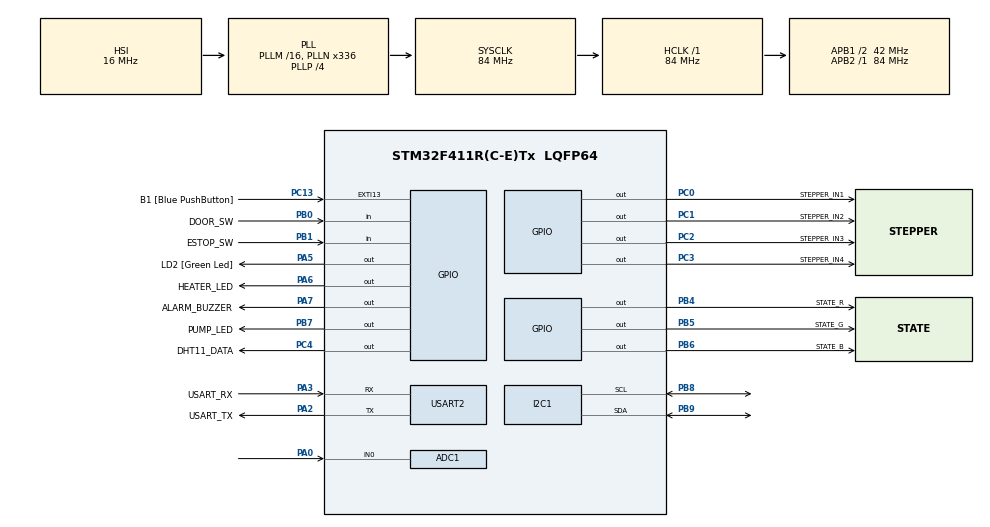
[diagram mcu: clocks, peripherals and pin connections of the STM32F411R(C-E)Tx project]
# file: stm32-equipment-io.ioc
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ADC1.Channel-0\#ChannelRegularConversion=ADC_CHANNEL_0
ADC1.NbrOfConversionFlag=1
ADC1.Rank-0\#ChannelRegularConversion=1
ADC1.SamplingTime-0\#ChannelRegularConversion=ADC_SAMPLETIME_3CYCLES
ADC1.master=1
Mcu.Family=STM32F4
Mcu.Name=STM32F411R(C-E)Tx
Mcu.Package=LQFP64
NVIC.PriorityGroup=NVIC_PRIORITYGROUP_0
PA0-WKUP.Signal=ADCx_IN0
PA13.GPIO_Label=TMS
PA13.Mode=Serial_Wire
PA13.Signal=SYS_JTMS-SWDIO
PA14.GPIO_Label=TCK
PA14.Mode=Serial_Wire
PA14.Signal=SYS_JTCK-SWCLK
PA2.GPIO_Label=USART_TX
PA2.Mode=Asynchronous
PA2.Signal=USART2_TX
PA3.GPIO_Label=USART_RX
PA3.Mode=Asynchronous
PA3.Signal=USART2_RX
PA5.GPIO_Label=LD2 [Green Led]
PA5.Signal=GPIO_Output
PA6.GPIO_Label=HEATER_LED
PA6.Signal=GPIO_Output
PA7.GPIO_Label=ALARM_BUZZER
PA7.Signal=GPIO_Output
PB0.GPIO_Label=DOOR_SW
PB0.GPIO_PuPd=GPIO_PULLUP
PB0.Signal=GPIO_Input
PB1.GPIO_Label=ESTOP_SW
PB1.GPIO_PuPd=GPIO_PULLUP
PB1.Signal=GPIO_Input
PB3.GPIO_Label=SWO
PB3.Signal=SYS_JTDO-SWO
PB4.GPIO_Label=STATE_R
PB4.GPIO_PuPd=GPIO_NOPULL
PB4.Signal=GPIO_Output
PB5.GPIO_Label=STATE_G
PB5.Signal=GPIO_Output
PB6.GPIO_Label=STATE_B
PB6.Signal=GPIO_Output
PB7.GPIO_Label=PUMP_LED
PB7.Signal=GPIO_Output
PB8.Mode=I2C
PB8.Signal=I2C1_SCL
PB9.Mode=I2C
PB9.Signal=I2C1_SDA
PC0.GPIO_Label=STEPPER_IN1
PC0.Signal=GPIO_Output
PC1.GPIO_Label=STEPPER_IN2
PC1.Signal=GPIO_Output
PC13-ANTI_TAMP.GPIO_Label=B1 [Blue PushButton]
PC13-ANTI_TAMP.GPIO_ModeDefaultEXTI=GPIO_MODE_IT_FALLING
PC13-ANTI_TAMP.Signal=GPXTI13
PC14-OSC32_IN.Mode=LSE-External-Oscillator
PC14-OSC32_IN.Signal=RCC_OSC32_IN
PC15-OSC32_OUT.Mode=LSE-External-Oscillator
PC15-OSC32_OUT.Signal=RCC_OSC32_OUT
PC2.GPIO_Label=STEPPER_IN3
PC2.Signal=GPIO_Output
PC3.GPIO_Label=STEPPER_IN4
PC3.Signal=GPIO_Output
PC4.GPIO_Label=DHT11_DATA
PC4.PinState=GPIO_PIN_SET
PC4.Signal=GPIO_Output
PH0\ -\ OSC_IN.Mode=HSE-External-Clock-Source
PH0\ -\ OSC_IN.Signal=RCC_OSC_IN
PH1\ -\ OSC_OUT.Mode=HSE-External-Clock-Source
PH1\ -\ OSC_OUT.Signal=RCC_OSC_OUT
ProjectManager.HeapSize=0x200
ProjectManager.StackSize=0x400
ProjectManager.TargetToolchain=CMake
RCC.48MHZClocksFreq_Value=84000000
RCC.AHBFreq_Value=84000000
RCC.APB1CLKDivider=RCC_HCLK_DIV2
RCC.APB1Freq_Value=42000000
RCC.APB1TimFreq_Value=84000000
RCC.APB2Freq_Value=84000000
RCC.APB2TimFreq_Value=84000000
RCC.CortexFreq_Value=84000000
RCC.FLatency-AdvancedSettings=FLASH_LATENCY_2
RCC.HCLKFreq_Value=84000000
RCC.HSE_VALUE=8000000
RCC.HSI_VALUE=16000000
RCC.PLLN=336
RCC.PLLP=RCC_PLLP_DIV4
RCC.SYSCLKFreq_VALUE=84000000
RCC.SYSCLKSource=RCC_SYSCLKSOURCE_PLLCLK
RCC.VCOOutputFreq_Value=336000000
SH.ADCx_IN0.0=ADC1_IN0,IN0
TIM5.Prescaler=83
USART2.VirtualMode=VM_ASYNC
VP_TIM5_VS_ClockSourceINT.Mode=Internal
board=NUCLEO-F411RE

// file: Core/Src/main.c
/* USER CODE BEGIN Header */
/**
  ******************************************************************************
  * @file           : main.c
  * @brief          : Main program body
  ******************************************************************************
  * @attention
  *
  * Copyright (c) 2026 STMicroelectronics.
  * All rights reserved.
  *
  * This software is licensed under terms that can be found in the LICENSE file
  * in the root directory of this software component.
  * If no LICENSE file comes with this software, it is provided AS-IS.
  *
  ******************************************************************************
  */
/* USER CODE END Header */
#include "main.h"

/* USER CODE BEGIN Includes */
#ifdef DHT11_HARDWARE_TEST
#include "dht11_hardware_test.h"
#else
#include "io_runtime.h"
#ifndef STEPPER_HARDWARE_TEST
#include "io_environment.h"
#endif
#endif

/* USER CODE END Includes */

ADC_HandleTypeDef hadc1;

I2C_HandleTypeDef hi2c1;

TIM_HandleTypeDef htim5;

UART_HandleTypeDef huart2;

void SystemClock_Config(void);
static void MX_GPIO_Init(void);
static void MX_USART2_UART_Init(void);
static void MX_ADC1_Init(void);
static void MX_I2C1_Init(void);
static void MX_TIM5_Init(void);

int main(void)
{

  /* MCU Configuration--------------------------------------------------------*/

  /* Reset of all peripherals, Initializes the Flash interface and the Systick. */
  HAL_Init();

  /* Configure the system clock */
  SystemClock_Config();

  /* Initialize all configured peripherals */
  MX_GPIO_Init();
  MX_USART2_UART_Init();
  MX_ADC1_Init();
  MX_I2C1_Init();
  MX_TIM5_Init();
  /* USER CODE BEGIN 2 */
#ifdef DHT11_HARDWARE_TEST
  Dht11HardwareTest_Init(&htim5, &huart2);
#else
  IoRuntime_Init(&hadc1, &huart2);
#ifndef STEPPER_HARDWARE_TEST
  IoEnvironment_Init(&htim5);
#endif
#endif

  /* USER CODE END 2 */

  /* Infinite loop */
  while (1)
  {

    /* USER CODE BEGIN 3 */
#ifdef DHT11_HARDWARE_TEST
    Dht11HardwareTest_Poll();
#else
    IoRuntime_Poll();
#endif
  }
  /* USER CODE END 3 */
}

void SystemClock_Config(void)
{
  RCC_OscInitTypeDef RCC_OscInitStruct = {0};
  RCC_ClkInitTypeDef RCC_ClkInitStruct = {0};

  /** Configure the main internal regulator output voltage
  */
  __HAL_RCC_PWR_CLK_ENABLE();
  __HAL_PWR_VOLTAGESCALING_CONFIG(PWR_REGULATOR_VOLTAGE_SCALE1);

  /** Initializes the RCC Oscillators according to the specified parameters
  * in the RCC_OscInitTypeDef structure.
  */
  RCC_OscInitStruct.OscillatorType = RCC_OSCILLATORTYPE_HSI;
  RCC_OscInitStruct.HSIState = RCC_HSI_ON;
  RCC_OscInitStruct.HSICalibrationValue = RCC_HSICALIBRATION_DEFAULT;
  RCC_OscInitStruct.PLL.PLLState = RCC_PLL_ON;
  RCC_OscInitStruct.PLL.PLLSource = RCC_PLLSOURCE_HSI;
  RCC_OscInitStruct.PLL.PLLM = 16;
  RCC_OscInitStruct.PLL.PLLN = 336;
  RCC_OscInitStruct.PLL.PLLP = RCC_PLLP_DIV4;
  RCC_OscInitStruct.PLL.PLLQ = 4;
  if (HAL_RCC_OscConfig(&RCC_OscInitStruct) != HAL_OK)
  {
    Error_Handler();
  }

  /** Initializes the CPU, AHB and APB buses clocks
  */
  RCC_ClkInitStruct.ClockType = RCC_CLOCKTYPE_HCLK|RCC_CLOCKTYPE_SYSCLK
                              |RCC_CLOCKTYPE_PCLK1|RCC_CLOCKTYPE_PCLK2;
  RCC_ClkInitStruct.SYSCLKSource = RCC_SYSCLKSOURCE_PLLCLK;
  RCC_ClkInitStruct.AHBCLKDivider = RCC_SYSCLK_DIV1;
  RCC_ClkInitStruct.APB1CLKDivider = RCC_HCLK_DIV2;
  RCC_ClkInitStruct.APB2CLKDivider = RCC_HCLK_DIV1;

  if (HAL_RCC_ClockConfig(&RCC_ClkInitStruct, FLASH_LATENCY_2) != HAL_OK)
  {
    Error_Handler();
  }
}

static void MX_ADC1_Init(void)
{

  ADC_ChannelConfTypeDef sConfig = {0};

  /** Configure the global features of the ADC (Clock, Resolution, Data Alignment and number of conversion)
  */
  hadc1.Instance = ADC1;
  hadc1.Init.ClockPrescaler = ADC_CLOCK_SYNC_PCLK_DIV4;
  hadc1.Init.Resolution = ADC_RESOLUTION_12B;
  hadc1.Init.ScanConvMode = DISABLE;
  hadc1.Init.ContinuousConvMode = DISABLE;
  hadc1.Init.DiscontinuousConvMode = DISABLE;
  hadc1.Init.ExternalTrigConvEdge = ADC_EXTERNALTRIGCONVEDGE_NONE;
  hadc1.Init.ExternalTrigConv = ADC_SOFTWARE_START;
  hadc1.Init.DataAlign = ADC_DATAALIGN_RIGHT;
  hadc1.Init.NbrOfConversion = 1;
  hadc1.Init.DMAContinuousRequests = DISABLE;
  hadc1.Init.EOCSelection = ADC_EOC_SINGLE_CONV;
  if (HAL_ADC_Init(&hadc1) != HAL_OK)
  {
    Error_Handler();
  }

  /** Configure for the selected ADC regular channel its corresponding rank in the sequencer and its sample time.
  */
  sConfig.Channel = ADC_CHANNEL_0;
  sConfig.Rank = 1;
  sConfig.SamplingTime = ADC_SAMPLETIME_3CYCLES;
  if (HAL_ADC_ConfigChannel(&hadc1, &sConfig) != HAL_OK)
  {
    Error_Handler();
  }

}

static void MX_I2C1_Init(void)
{

  hi2c1.Instance = I2C1;
  hi2c1.Init.ClockSpeed = 100000;
  hi2c1.Init.DutyCycle = I2C_DUTYCYCLE_2;
  hi2c1.Init.OwnAddress1 = 0;
  hi2c1.Init.AddressingMode = I2C_ADDRESSINGMODE_7BIT;
  hi2c1.Init.DualAddressMode = I2C_DUALADDRESS_DISABLE;
  hi2c1.Init.OwnAddress2 = 0;
  hi2c1.Init.GeneralCallMode = I2C_GENERALCALL_DISABLE;
  hi2c1.Init.NoStretchMode = I2C_NOSTRETCH_DISABLE;
  if (HAL_I2C_Init(&hi2c1) != HAL_OK)
  {
    Error_Handler();
  }

}

static void MX_TIM5_Init(void)
{

  TIM_ClockConfigTypeDef sClockSourceConfig = {0};
  TIM_MasterConfigTypeDef sMasterConfig = {0};

  htim5.Instance = TIM5;
  htim5.Init.Prescaler = 83;
  htim5.Init.CounterMode = TIM_COUNTERMODE_UP;
  htim5.Init.Period = 4294967295;
  htim5.Init.ClockDivision = TIM_CLOCKDIVISION_DIV1;
  htim5.Init.AutoReloadPreload = TIM_AUTORELOAD_PRELOAD_DISABLE;
  if (HAL_TIM_Base_Init(&htim5) != HAL_OK)
  {
    Error_Handler();
  }
  sClockSourceConfig.ClockSource = TIM_CLOCKSOURCE_INTERNAL;
  if (HAL_TIM_ConfigClockSource(&htim5, &sClockSourceConfig) != HAL_OK)
  {
    Error_Handler();
  }
  sMasterConfig.MasterOutputTrigger = TIM_TRGO_RESET;
  sMasterConfig.MasterSlaveMode = TIM_MASTERSLAVEMODE_DISABLE;
  if (HAL_TIMEx_MasterConfigSynchronization(&htim5, &sMasterConfig) != HAL_OK)
  {
    Error_Handler();
  }

}

static void MX_USART2_UART_Init(void)
{

  huart2.Instance = USART2;
  huart2.Init.BaudRate = 115200;
  huart2.Init.WordLength = UART_WORDLENGTH_8B;
  huart2.Init.StopBits = UART_STOPBITS_1;
  huart2.Init.Parity = UART_PARITY_NONE;
  huart2.Init.Mode = UART_MODE_TX_RX;
  huart2.Init.HwFlowCtl = UART_HWCONTROL_NONE;
  huart2.Init.OverSampling = UART_OVERSAMPLING_16;
  if (HAL_UART_Init(&huart2) != HAL_OK)
  {
    Error_Handler();
  }

}

static void MX_GPIO_Init(void)
{
  GPIO_InitTypeDef GPIO_InitStruct = {0};

  /* GPIO Ports Clock Enable */
  __HAL_RCC_GPIOC_CLK_ENABLE();
  __HAL_RCC_GPIOH_CLK_ENABLE();
  __HAL_RCC_GPIOA_CLK_ENABLE();
  __HAL_RCC_GPIOB_CLK_ENABLE();

  /*Configure GPIO pin Output Level */
  HAL_GPIO_WritePin(GPIOC, STEPPER_IN1_Pin|STEPPER_IN2_Pin|STEPPER_IN3_Pin|STEPPER_IN4_Pin, GPIO_PIN_RESET);

  /*Configure GPIO pin Output Level */
  HAL_GPIO_WritePin(GPIOA, LD2_Pin|HEATER_LED_Pin|ALARM_BUZZER_Pin, GPIO_PIN_RESET);

  /*Configure GPIO pin Output Level */
  HAL_GPIO_WritePin(DHT11_DATA_GPIO_Port, DHT11_DATA_Pin, GPIO_PIN_SET);

  /*Configure GPIO pin Output Level */
  HAL_GPIO_WritePin(GPIOB, STATE_R_Pin|STATE_G_Pin|STATE_B_Pin|PUMP_LED_Pin, GPIO_PIN_RESET);

  /*Configure GPIO pin : B1_Pin */
  GPIO_InitStruct.Pin = B1_Pin;
  GPIO_InitStruct.Mode = GPIO_MODE_IT_FALLING;
  GPIO_InitStruct.Pull = GPIO_NOPULL;
  HAL_GPIO_Init(B1_GPIO_Port, &GPIO_InitStruct);

  /*Configure GPIO pins : STEPPER_IN1_Pin STEPPER_IN2_Pin STEPPER_IN3_Pin STEPPER_IN4_Pin
                           DHT11_DATA_Pin */
  GPIO_InitStruct.Pin = STEPPER_IN1_Pin|STEPPER_IN2_Pin|STEPPER_IN3_Pin|STEPPER_IN4_Pin
                          |DHT11_DATA_Pin;
  GPIO_InitStruct.Mode = GPIO_MODE_OUTPUT_PP;
  GPIO_InitStruct.Pull = GPIO_NOPULL;
  GPIO_InitStruct.Speed = GPIO_SPEED_FREQ_LOW;
  HAL_GPIO_Init(GPIOC, &GPIO_InitStruct);

  /*Configure GPIO pins : LD2_Pin HEATER_LED_Pin ALARM_BUZZER_Pin */
  GPIO_InitStruct.Pin = LD2_Pin|HEATER_LED_Pin|ALARM_BUZZER_Pin;
  GPIO_InitStruct.Mode = GPIO_MODE_OUTPUT_PP;
  GPIO_InitStruct.Pull = GPIO_NOPULL;
  GPIO_InitStruct.Speed = GPIO_SPEED_FREQ_LOW;
  HAL_GPIO_Init(GPIOA, &GPIO_InitStruct);

  /*Configure GPIO pins : DOOR_SW_Pin ESTOP_SW_Pin */
  GPIO_InitStruct.Pin = DOOR_SW_Pin|ESTOP_SW_Pin;
  GPIO_InitStruct.Mode = GPIO_MODE_INPUT;
  GPIO_InitStruct.Pull = GPIO_PULLUP;
  HAL_GPIO_Init(GPIOB, &GPIO_InitStruct);

  /*Configure GPIO pins : STATE_R_Pin STATE_G_Pin STATE_B_Pin PUMP_LED_Pin */
  GPIO_InitStruct.Pin = STATE_R_Pin|STATE_G_Pin|STATE_B_Pin|PUMP_LED_Pin;
  GPIO_InitStruct.Mode = GPIO_MODE_OUTPUT_PP;
  GPIO_InitStruct.Pull = GPIO_NOPULL;
  GPIO_InitStruct.Speed = GPIO_SPEED_FREQ_LOW;
  HAL_GPIO_Init(GPIOB, &GPIO_InitStruct);

}

void Error_Handler(void)
{
  __disable_irq();
  while (1)
  {
  }
}
